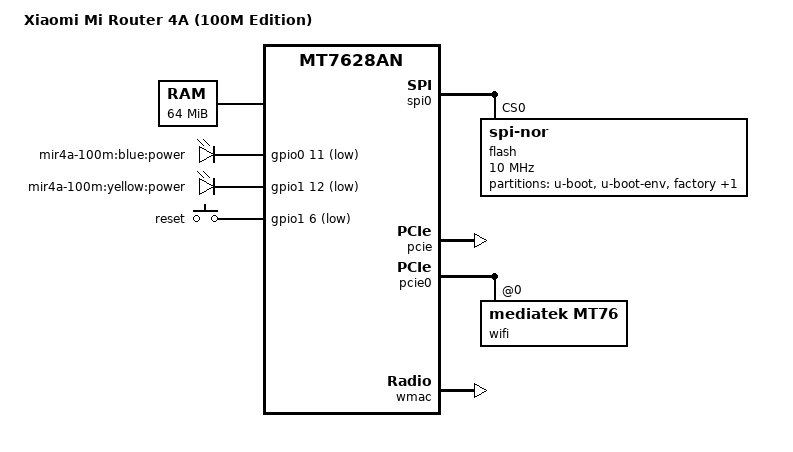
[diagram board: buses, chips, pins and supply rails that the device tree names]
//SPDX-License-Identifier: GPL-2.0-or-later OR MIT
/dts-v1/;

#include "mt7628an.dtsi"

#include <dt-bindings/gpio/gpio.h>
#include <dt-bindings/input/input.h>

/ {
	compatible = "xiaomi,mir4a-100m", "mediatek,mt7628an-soc";
	model = "Xiaomi Mi Router 4A (100M Edition)";

	chosen {
		bootargs = "console=ttyS0,115200";
	};

	memory@0 {
		device_type = "memory";
		reg = <0x0 0x4000000>;
	};

	aliases {
		led-boot = &power_yellow;
		led-failsafe = &power_yellow;
		led-running = &power_blue;
		led-upgrade = &power_yellow;
	};

	leds {
		compatible = "gpio-leds";

		power_blue: power_blue {
			label = "mir4a-100m:blue:power";
			gpios = <&gpio0 11 GPIO_ACTIVE_LOW>;
		};

		power_yellow: power_yellow {
			label = "mir4a-100m:yellow:power";
			gpios = <&gpio1 12 GPIO_ACTIVE_LOW>;
		};
	};

	keys {
		compatible = "gpio-keys-polled";
		poll-interval = <20>;

		reset {
			label = "reset";
			gpios = <&gpio1 6 GPIO_ACTIVE_LOW>;
			linux,code = <KEY_RESTART>;
		};
	};
};

&spi0 {
	status = "okay";

	flash@0 {
		compatible = "jedec,spi-nor";
		reg = <0>;
		spi-max-frequency = <10000000>;
		/*闪存大小16M*/
		partitions: partitions {
             compatible = "fixed-partitions";
             #address-cells = <1>;
             #size-cells = <1>;

             partition@0 {
                 label = "u-boot";
                 reg = <0x0 0x30000>;
                 read-only;
             };

             partition@30000 {
                 label = "u-boot-env";
                 reg = <0x30000 0x10000>;
                 read-only;
             };

             factory: partition@40000 {
                 label = "factory";
                 reg = <0x40000 0x10000>;
                 read-only;
             };

             partition@50000 {
                 label = "firmware";
                 reg = <0x50000 0xf80000>;            
                 compatible = "denx,uimage";
             };            
            
             /* additional partitions in DTS */
             /* https://www.right.com.cn/forum/forum.php?mod=viewthread&tid=5459952&extra=page%3D1&page=1 */
         };
	};
};

&pcie {
	status = "okay";
};

&pcie0 {
	wifi@0,0 {
		compatible = "mediatek,mt76";
		reg = <0x0000 0 0 0 0>;
		mediatek,mtd-eeprom = <&factory 0x8000>;
		ieee80211-freq-limit = <5000000 6000000>;
	};
};

&pinctrl {
	state_default: pinctrl0 {
		gpio {
			ralink,group = "gpio", "wdt", "wled_an";
			ralink,function = "gpio";
		};
	};
};

&ethernet {
	mtd-mac-address = <&factory 0x4>;
	mtd-mac-address-increment = <(-1)>;
};

&esw {
	mediatek,portmap = <0x2f>;
	mediatek,portdisable = <0x2a>;
};

&wmac {
	status = "okay";
};
